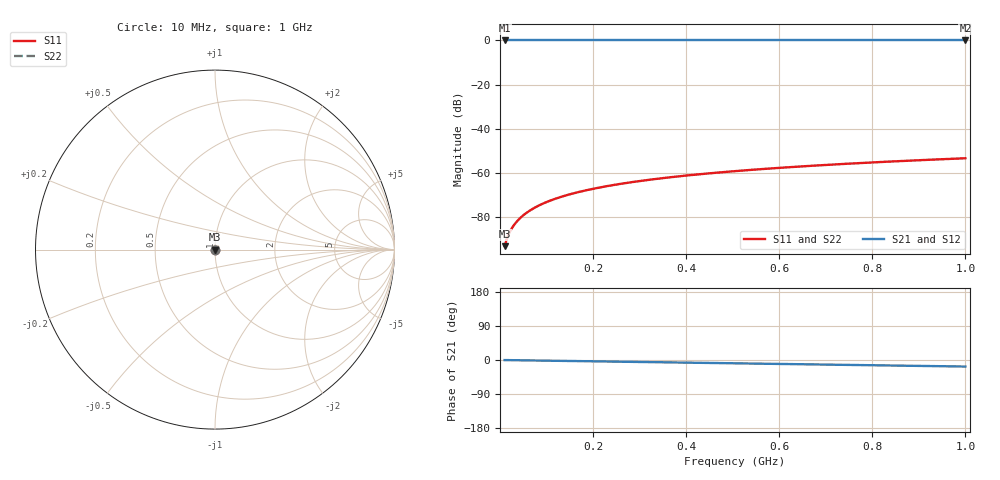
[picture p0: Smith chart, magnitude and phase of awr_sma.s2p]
! AWR Design Environment (17415) Wed Nov  6 14:17:59 2024
! Document = 'SMA'
! nPorts: 2, nXvals: 201
# MHz S DB R 50
!Freq DBS11 AngS11 DBS21 AngS21 DBS12 AngS12 DBS22 AngS22
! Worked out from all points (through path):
!   201 points, 10 MHz to 1 GHz, reference 50 ohm
!   highest |S21| = 0.00 dB at 10 MHz (marker M1); lowest = 0.0 dB at 1 GHz (marker M2)
!   group delay of S21, straight-line fit = 48 ps
!   lowest |S11| = -93.3 dB at 10 MHz (marker M3), VSWR 1.00, Z = 50 + j0.00216 ohm
!   |S11| at or under -10 dB: start of sweep to end of sweep
!   |S22| runs from -93.3 to -53.4 dB; largest |S21 - S12| = 1.4e-14
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10  -93.29 89.8  -0.00 -0.2  -0.00 -0.2  -93.29 89.8
44.65  -80.30 89.2  -0.00 -0.8  -0.00 -0.8  -80.30 89.2
49.6  -79.38 89.1  -0.00 -0.9  -0.00 -0.9  -79.38 89.1
59.5  -77.80 89.0  -0.00 -1.0  -0.00 -1.0  -77.80 89.0
69.4  -76.47 88.8  -0.00 -1.2  -0.00 -1.2  -76.47 88.8
84.25  -74.78 88.5  -0.00 -1.5  -0.00 -1.5  -74.78 88.5
99.1  -73.37 88.3  -0.00 -1.7  -0.00 -1.7  -73.37 88.3
113.95  -72.16 88.0  -0.00 -2.0  -0.00 -2.0  -72.16 88.0
133.75  -70.77 87.7  -0.00 -2.3  -0.00 -2.3  -70.77 87.7
153.55  -69.57 87.3  -0.00 -2.7  -0.00 -2.7  -69.57 87.3
178.3  -68.27 86.9  -0.00 -3.1  -0.00 -3.1  -68.27 86.9
212.95  -66.73 86.3  -0.00 -3.7  -0.00 -3.7  -66.73 86.3
252.55  -65.25 85.6  -0.00 -4.4  -0.00 -4.4  -65.25 85.6
297.1  -63.85 84.9  -0.00 -5.1  -0.00 -5.1  -63.85 84.9
341.65  -62.64 84.1  -0.00 -5.9  -0.00 -5.9  -62.64 84.1
415.9  -60.94 82.8  -0.00 -7.2  -0.00 -7.2  -60.94 82.8
505  -59.26 81.3  -0.00 -8.7  -0.00 -8.7  -59.26 81.3
584.2  -58.01 79.9  -0.00 -10.1  -0.00 -10.1  -58.01 79.9
673.3  -56.79 78.4  -0.00 -11.6  -0.00 -11.6  -56.79 78.4
752.5  -55.84 77.0  -0.00 -13.0  -0.00 -13.0  -55.84 77.0
836.65  -54.93 75.5  -0.00 -14.5  -0.00 -14.5  -54.93 75.5
1000  -53.42 72.7  -0.00 -17.3  -0.00 -17.3  -53.42 72.7
